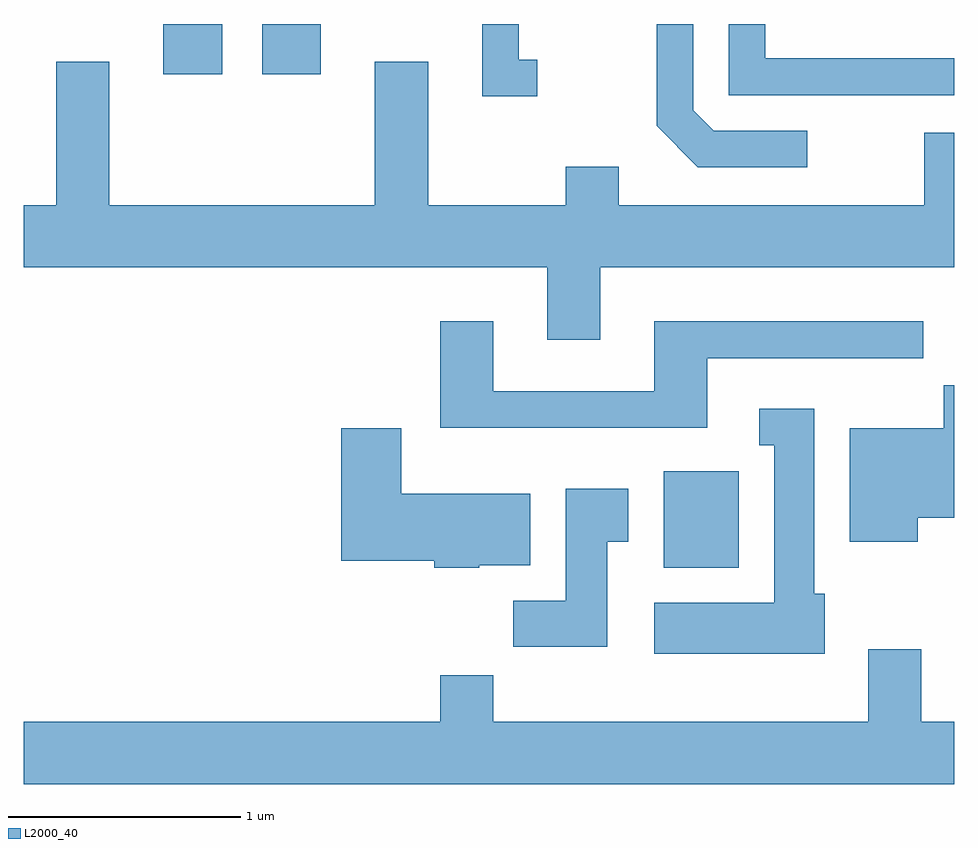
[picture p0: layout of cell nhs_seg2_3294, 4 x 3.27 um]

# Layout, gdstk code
import gdstk
lib = gdstk.Library(unit=1e-6, precision=1e-09)
def R(c, l, rs):  # rectangles x0, y0, x1, y1
    for r in rs: c.add(gdstk.rectangle(r[:2], r[2:], *l))
def P(c, l, *ps):  # polygons
    for p in ps: c.add(gdstk.Polygon(p, *l))
L2000_40 = (2000, 40)

nhs_seg2_3294 = lib.new_cell('nhs_seg2_3294')
R(nhs_seg2_3294, L2000_40, [(284.361,1051.466,284.684,1051.879), (282.211,1053.586,282.464,1053.802), (282.636,1053.586,282.889,1053.802)])
P(nhs_seg2_3294, L2000_40, [(285.611,1053.654),(284.799,1053.654),(284.799,1053.802),(284.641,1053.802),(284.641,1053.496),(285.611,1053.496)],
  [(284.978,1053.344),(284.577,1053.344),(284.489,1053.432),(284.489,1053.802),(284.331,1053.802),(284.331,1053.364),(284.509,1053.186),(284.978,1053.186)],
  [(283.818,1053.649),(283.739,1053.649),(283.739,1053.802),(283.581,1053.802),(283.581,1053.491),(283.818,1053.491)],
  [(284.089,1052.756),(285.611,1052.756),(285.611,1053.334),(285.481,1053.334),(285.481,1053.024),(284.169,1053.024),(284.169,1053.189),(283.941,1053.189),(283.941,1053.024),(283.349,1053.024),(283.349,1053.639),(283.121,1053.639),(283.121,1053.024),(281.979,1053.024),(281.979,1053.639),(281.751,1053.639),(281.751,1053.024),(281.611,1053.024),(281.611,1052.756),(283.861,1052.756),(283.861,1052.446),(284.089,1052.446)],
  [(284.549,1052.366),(285.478,1052.366),(285.478,1052.524),(284.321,1052.524),(284.321,1052.224),(283.629,1052.224),(283.629,1052.524),(283.401,1052.524),(283.401,1052.066),(284.549,1052.066)],
  [(285.454,1051.681),(285.611,1051.681),(285.611,1052.249),(285.566,1052.249),(285.566,1052.064),(285.161,1052.064),(285.161,1051.576),(285.454,1051.576)],
  [(285.054,1051.354),(285.009,1051.354),(285.009,1052.149),(284.773,1052.149),(284.773,1051.991),(284.836,1051.991),(284.836,1051.314),(284.321,1051.314),(284.321,1051.096),(285.054,1051.096)],
  [(283.57,1051.476),(283.789,1051.476),(283.789,1051.784),(283.234,1051.784),(283.234,1052.064),(282.976,1052.064),(282.976,1051.496),(283.376,1051.496),(283.376,1051.466),(283.57,1051.466)],
  [(284.119,1051.576),(284.209,1051.576),(284.209,1051.804),(283.941,1051.804),(283.941,1051.324),(283.716,1051.324),(283.716,1051.126),(284.119,1051.126)],
  [(285.611,1050.804),(285.469,1050.804),(285.469,1051.114),(285.241,1051.114),(285.241,1050.804),(283.629,1050.804),(283.629,1051.004),(283.401,1051.004),(283.401,1050.804),(281.611,1050.804),(281.611,1050.536),(285.611,1050.536)])

lib.write_gds('nhs_seg2_3294.gds')
